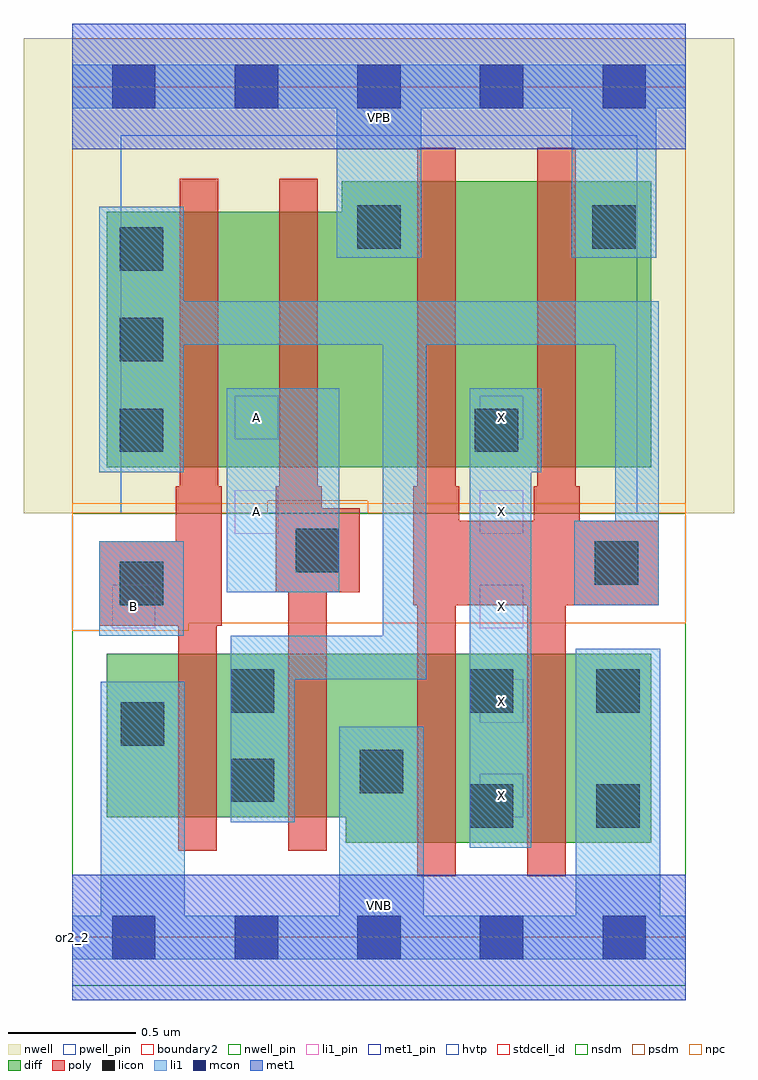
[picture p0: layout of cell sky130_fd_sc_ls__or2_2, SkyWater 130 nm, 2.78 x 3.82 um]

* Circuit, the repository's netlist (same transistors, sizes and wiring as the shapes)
* Copyright 2020 The SkyWater PDK Authors
*
* Licensed under the Apache License, Version 2.0 (the "License");
* you may not use this file except in compliance with the License.
* You may obtain a copy of the License at
*
*     https://www.apache.org/licenses/LICENSE-2.0
*
* Unless required by applicable law or agreed to in writing, software
* distributed under the License is distributed on an "AS IS" BASIS,
* WITHOUT WARRANTIES OR CONDITIONS OF ANY KIND, either express or implied.
* See the License for the specific language governing permissions and
* limitations under the License.
*
* SPDX-License-Identifier: Apache-2.0

.SUBCKT sky130_fd_sc_ls__or2_2 A B VGND VNB VPB VPWR X
*.PININFO A:I B:I VGND:I VNB:I VPB:I VPWR:I X:O
MMP0 VPWR A sndPA VPB sky130_fd_pr__pfet_01v8_hvt m=1 w=1.0U l=0.15U mult=1 sa=0.265
+ sb=0.265 sd=0.28 area=0.063 perim=1.14
MMP1 sndPA B y VPB sky130_fd_pr__pfet_01v8_hvt m=1 w=1.0U l=0.15U mult=1 sa=0.265
+ sb=0.265 sd=0.28 area=0.063 perim=1.14
MMIP2 X y VPWR VPB sky130_fd_pr__pfet_01v8_hvt m=2 w=1.12U l=0.15U mult=1 sa=0.265
+ sb=0.265 sd=0.28 area=0.063 perim=1.14
MMN0 y A VGND VNB sky130_fd_pr__nfet_01v8 m=1 w=0.64U l=0.15U mult=1 sa=0.265 sb=0.265
+ sd=0.28 area=0.063 perim=1.14
MMN1 y B VGND VNB sky130_fd_pr__nfet_01v8 m=1 w=0.64U l=0.15U mult=1 sa=0.265 sb=0.265
+ sd=0.28 area=0.063 perim=1.14
MMIN2 X y VGND VNB sky130_fd_pr__nfet_01v8 m=2 w=0.74U l=0.15U mult=1 sa=0.265
+ sb=0.265 sd=0.28 area=0.063 perim=1.14
.ENDS sky130_fd_sc_ls__or2_2

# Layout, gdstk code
import gdstk
lib = gdstk.Library(unit=1e-6, precision=1e-09)
def R(c, l, rs):  # rectangles x0, y0, x1, y1
    for r in rs: c.add(gdstk.rectangle(r[:2], r[2:], *l))
def A(c, l, x, y, w, h, nx, ny, dx, dy):  # array of equal rectangles
    R(c, l, [(x+i*dx, y+j*dy, x+i*dx+w, y+j*dy+h) for i in range(nx) for j in range(ny)])
def P(c, l, *ps):  # polygons
    for p in ps: c.add(gdstk.Polygon(p, *l))
nwell_pin = (64, 16)
nwell = (64, 20)
diff = (65, 20)
poly = (66, 20)
licon = (66, 44)
li1_pin = (67, 16)
li1 = (67, 20)
mcon = (67, 44)
met1_pin = (68, 16)
met1 = (68, 20)
hvtp = (78, 44)
stdcell_id = (81, 4)
nsdm = (93, 44)
psdm = (94, 20)
npc = (95, 20)
pwell_pin = (122, 16)
boundary2 = (236, 0)

sky130_fd_sc_ls__or2_2 = lib.new_cell('sky130_fd_sc_ls__or2_2')
R(sky130_fd_sc_ls__or2_2, nwell_pin, [(0,3.085,2.4,3.33)])
R(sky130_fd_sc_ls__or2_2, nwell, [(-0.19,1.66,2.59,3.52)])
P(sky130_fd_sc_ls__or2_2, diff, [(2.265,2.96),(1.055,2.96),(1.055,2.84),(0.135,2.84),(0.135,1.84),(2.265,1.84)],
  [(2.265,1.11),(0.135,1.11),(0.135,0.47),(1.07,0.47),(1.07,0.37),(2.265,0.37)])
P(sky130_fd_sc_ls__or2_2, poly, [(2.295,1.63),(1.985,1.63),(1.985,1.765),(1.97,1.765),(1.97,3.09),(1.82,3.09),(1.82,1.765),(1.805,1.765),(1.805,1.63),(1.515,1.63),(1.515,1.765),(1.5,1.765),(1.5,3.09),(1.35,3.09),(1.35,1.765),(1.335,1.765),(1.335,1.3),(1.35,1.3),(1.35,0.24),(1.5,0.24),(1.5,1.3),(1.78,1.3),(1.78,0.24),(1.93,0.24),(1.93,1.3),(2.295,1.3)],
  [(1.125,1.68),(0.975,1.68),(0.975,1.765),(0.96,1.765),(0.96,2.97),(0.81,2.97),(0.81,1.765),(0.795,1.765),(0.795,1.35),(0.845,1.35),(0.845,0.34),(0.995,0.34),(0.995,1.35),(1.125,1.35)],
  [(0.585,1.765),(0.57,1.765),(0.57,2.97),(0.42,2.97),(0.42,1.765),(0.405,1.765),(0.405,1.55),(0.105,1.55),(0.105,1.22),(0.415,1.22),(0.415,0.34),(0.565,0.34),(0.565,1.22),(0.585,1.22)])
A(sky130_fd_sc_ls__or2_2, licon, 0.185, 1.9, 0.17, 0.17, 1, 3, 0, 0.355)
R(sky130_fd_sc_ls__or2_2, licon, [(1.555,0.43,1.725,0.6), (2.05,0.43,2.22,0.6), (0.62,0.53,0.79,0.7), (1.125,0.565,1.295,0.735), (0.19,0.75,0.36,0.92), (0.62,0.88,0.79,1.05), (1.555,0.88,1.725,1.05), (2.05,0.88,2.22,1.05), (0.185,1.3,0.355,1.47), (2.045,1.38,2.215,1.55), (0.875,1.43,1.045,1.6), (1.575,1.9,1.745,2.07), (1.115,2.695,1.285,2.865), (2.035,2.695,2.205,2.865)])
A(sky130_fd_sc_ls__or2_2, li1_pin, 1.595, 0.47, 0.17, 0.17, 1, 5, 0, 0.37)
R(sky130_fd_sc_ls__or2_2, li1_pin, [(0.155,1.21,0.325,1.38), (0.635,1.58,0.805,1.75), (0.635,1.95,0.805,2.12)])
R(sky130_fd_sc_ls__or2_2, li1, [(0.105,1.18,0.435,1.55), (0.605,1.35,1.045,2.15)])
P(sky130_fd_sc_ls__or2_2, li1, [(1.955,2.66),(1.955,3.245),(1.365,3.245),(1.365,2.66),(1.035,2.66),(1.035,3.245),(0,3.245),(0,3.415),(2.4,3.415),(2.4,3.245),(2.285,3.245),(2.285,2.66)],
  [(0.11,0.085),(0.11,1),(0.44,1),(0.44,0.085),(1.045,0.085),(1.045,0.825),(1.375,0.825),(1.375,0.085),(1.97,0.085),(1.97,1.13),(2.3,1.13),(2.3,0.085),(2.4,0.085),(2.4,-0.085),(0,-0.085),(0,0.085)],
  [(1.555,2.15),(1.835,2.15),(1.835,1.82),(1.795,1.82),(1.795,0.35),(1.555,0.35)],
  [(1.385,1.01),(0.87,1.01),(0.87,0.45),(0.62,0.45),(0.62,1.18),(1.215,1.18),(1.215,2.32),(0.435,2.32),(0.435,1.82),(0.105,1.82),(0.105,2.86),(0.435,2.86),(0.435,2.49),(2.295,2.49),(2.295,1.3),(1.965,1.3),(1.965,1.63),(2.125,1.63),(2.125,2.32),(1.385,2.32)])
A(sky130_fd_sc_ls__or2_2, mcon, 0.155, -0.085, 0.17, 0.17, 5, 2, 0.48, 3.33)
R(sky130_fd_sc_ls__or2_2, met1_pin, [(0,0,2.4,0.245), (0,3.085,2.4,3.33)])
R(sky130_fd_sc_ls__or2_2, met1, [(0,-0.245,2.4,0.245), (0,3.085,2.4,3.575)])
R(sky130_fd_sc_ls__or2_2, hvtp, [(0.19,1.66,2.21,3.14)])
R(sky130_fd_sc_ls__or2_2, stdcell_id, [(0,0,2.4,3.33)])
R(sky130_fd_sc_ls__or2_2, nsdm, [(0,-0.19,2.4,1.66)])
P(sky130_fd_sc_ls__or2_2, psdm, [(2.4,3.52),(0,3.52),(0,1.66),(0.765,1.66),(0.765,1.71),(1.155,1.71),(1.155,1.66),(2.4,1.66)])
P(sky130_fd_sc_ls__or2_2, npc, [(2.4,1.7),(0,1.7),(0,1.2),(0.455,1.2),(0.455,1.23),(2.4,1.23)])
R(sky130_fd_sc_ls__or2_2, pwell_pin, [(0,0,2.4,0.245)])
R(sky130_fd_sc_ls__or2_2, boundary2, [(0,0,2.4,3.33)])
sky130_fd_sc_ls__or2_2.add(gdstk.Label('or2_2', (0,0), layer=83, texttype=44))
sky130_fd_sc_ls__or2_2.add(gdstk.Label('VNB', (1.2,0.123), layer=64, texttype=59))
sky130_fd_sc_ls__or2_2.add(gdstk.Label('VPB', (1.2,3.208), layer=64, texttype=5))
sky130_fd_sc_ls__or2_2.add(gdstk.Label('VPWR', (1.2,3.208), layer=68, texttype=5))
sky130_fd_sc_ls__or2_2.add(gdstk.Label('VGND', (1.2,0.123), layer=68, texttype=5))
sky130_fd_sc_ls__or2_2.add(gdstk.Label('X', (1.68,0.555), layer=67, texttype=5))
sky130_fd_sc_ls__or2_2.add(gdstk.Label('X', (1.68,0.925), layer=67, texttype=5))
sky130_fd_sc_ls__or2_2.add(gdstk.Label('X', (1.68,1.295), layer=67, texttype=5))
sky130_fd_sc_ls__or2_2.add(gdstk.Label('X', (1.68,1.665), layer=67, texttype=5))
sky130_fd_sc_ls__or2_2.add(gdstk.Label('X', (1.68,2.035), layer=67, texttype=5))
sky130_fd_sc_ls__or2_2.add(gdstk.Label('B', (0.24,1.295), layer=67, texttype=5))
sky130_fd_sc_ls__or2_2.add(gdstk.Label('A', (0.72,1.665), layer=67, texttype=5))
sky130_fd_sc_ls__or2_2.add(gdstk.Label('A', (0.72,2.035), layer=67, texttype=5))

lib.write_gds('sky130_fd_sc_ls__or2_2.gds')
